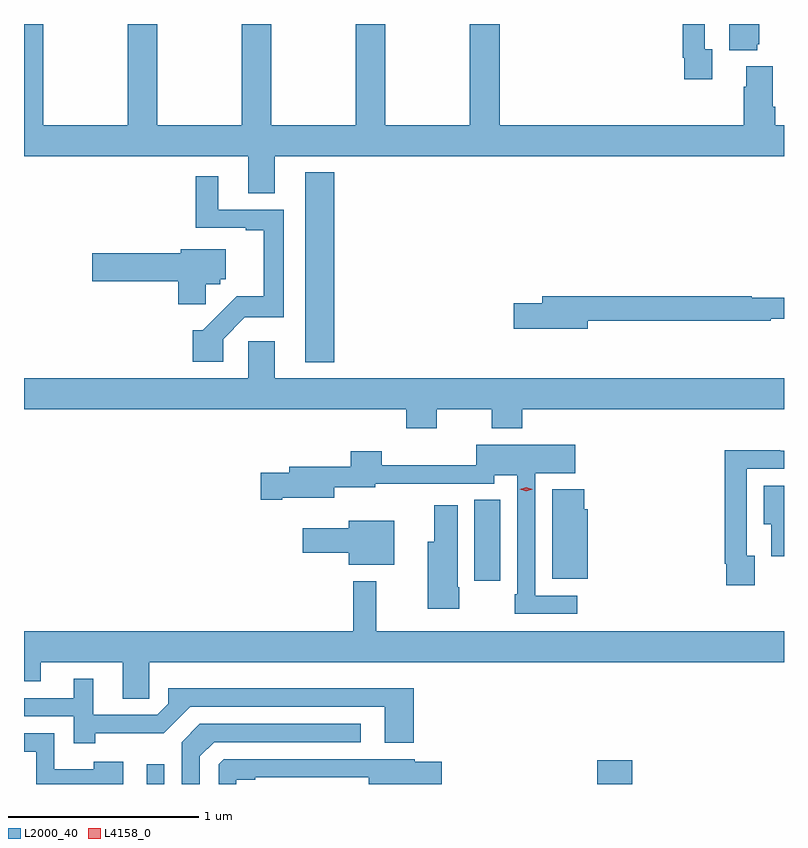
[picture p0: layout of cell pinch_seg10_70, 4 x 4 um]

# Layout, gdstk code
import gdstk
lib = gdstk.Library(unit=1e-6, precision=1e-09)
def R(c, l, rs):  # rectangles x0, y0, x1, y1
    for r in rs: c.add(gdstk.rectangle(r[:2], r[2:], *l))
def P(c, l, *ps):  # polygons
    for p in ps: c.add(gdstk.Polygon(p, *l))
L2000_40 = (2000, 40)
L4158_0 = (4158, 0)

pinch_seg10_70 = lib.new_cell('pinch_seg10_70')
R(pinch_seg10_70, L2000_40, [(820.967,1305.004,821.061,1305.109), (823.34,1305.004,823.523,1305.13), (822.692,1306.074,822.829,1306.499), (821.801,1307.225,821.954,1308.223)])
P(pinch_seg10_70, L2000_40, [(821.622,1309.004),(821.467,1309.004),(821.467,1308.472),(821.022,1308.472),(821.022,1309.004),(820.867,1309.004),(820.867,1308.472),(820.422,1308.472),(820.422,1309.004),(820.322,1309.004),(820.322,1308.308),(821.501,1308.308),(821.501,1308.114),(821.641,1308.114),(821.641,1308.308),(824.322,1308.308),(824.322,1308.472),(824.276,1308.472),(824.276,1308.568),(824.263,1308.568),(824.263,1308.781),(824.123,1308.781),(824.123,1308.674),(824.111,1308.674),(824.111,1308.472),(822.827,1308.472),(822.827,1309.004),(822.667,1309.004),(822.667,1308.472),(822.222,1308.472),(822.222,1309.004),(822.067,1309.004),(822.067,1308.472),(821.622,1308.472)],
  [(823.945,1308.87),(823.905,1308.87),(823.905,1309.004),(823.789,1309.004),(823.789,1308.826),(823.797,1308.826),(823.797,1308.714),(823.945,1308.714)],
  [(824.18,1308.897),(824.191,1308.897),(824.191,1309.004),(824.033,1309.004),(824.033,1308.866),(824.18,1308.866)],
  [(821.37,1307.346),(821.484,1307.46),(821.689,1307.46),(821.689,1308.027),(821.344,1308.027),(821.344,1308.202),(821.227,1308.202),(821.227,1307.931),(821.489,1307.931),(821.489,1307.919),(821.585,1307.919),(821.585,1307.57),(821.441,1307.57),(821.263,1307.392),(821.21,1307.392),(821.21,1307.226),(821.37,1307.226)],
  [(821.279,1307.634),(821.355,1307.634),(821.355,1307.661),(821.383,1307.661),(821.383,1307.818),(821.147,1307.818),(821.147,1307.798),(820.68,1307.798),(820.68,1307.651),(821.135,1307.651),(821.135,1307.529),(821.279,1307.529)],
  [(823.288,1307.442),(824.252,1307.442),(824.252,1307.454),(824.322,1307.454),(824.322,1307.563),(824.153,1307.563),(824.153,1307.57),(823.049,1307.57),(823.049,1307.534),(822.9,1307.534),(822.9,1307.399),(823.288,1307.399)],
  [(822.495,1306.976),(822.784,1306.976),(822.784,1306.877),(822.944,1306.877),(822.944,1306.976),(824.322,1306.976),(824.322,1307.14),(821.641,1307.14),(821.641,1307.335),(821.502,1307.335),(821.502,1307.14),(820.322,1307.14),(820.322,1306.976),(822.335,1306.976),(822.335,1306.877),(822.495,1306.877)],
  [(823.234,1305.996),(823.014,1305.996),(823.014,1306.64),(823.222,1306.64),(823.222,1306.789),(822.702,1306.789),(822.702,1306.682),(822.206,1306.682),(822.206,1306.756),(822.041,1306.756),(822.041,1306.675),(821.717,1306.675),(821.717,1306.641),(821.568,1306.641),(821.568,1306.499),(821.68,1306.499),(821.68,1306.511),(821.956,1306.511),(821.956,1306.565),(822.171,1306.565),(822.171,1306.583),(822.386,1306.583),(822.386,1306.584),(822.798,1306.584),(822.798,1306.628),(822.918,1306.628),(822.918,1306.003),(822.906,1306.003),(822.906,1305.9),(823.234,1305.9)],
  [(824.167,1306.206),(824.127,1306.206),(824.127,1306.662),(824.322,1306.662),(824.322,1306.758),(824.303,1306.758),(824.303,1306.76),(824.011,1306.76),(824.011,1306.162),(824.019,1306.162),(824.019,1306.05),(824.167,1306.05)],
  [(824.322,1306.573),(824.216,1306.573),(824.216,1306.37),(824.255,1306.37),(824.255,1306.202),(824.322,1306.202)],
  [(823.288,1306.449),(823.27,1306.449),(823.27,1306.555),(823.103,1306.555),(823.103,1306.085),(823.288,1306.085)],
  [(822.612,1306.039),(822.604,1306.039),(822.604,1306.471),(822.482,1306.471),(822.482,1306.279),(822.446,1306.279),(822.446,1305.927),(822.612,1305.927)],
  [(822.271,1306.39),(822.032,1306.39),(822.032,1306.351),(821.79,1306.351),(821.79,1306.222),(822.032,1306.222),(822.032,1306.157),(822.271,1306.157)],
  [(820.322,1305.545),(820.411,1305.545),(820.411,1305.644),(820.841,1305.644),(820.841,1305.454),(820.98,1305.454),(820.98,1305.644),(824.322,1305.644),(824.322,1305.808),(822.176,1305.808),(822.176,1306.072),(822.055,1306.072),(822.055,1305.808),(820.322,1305.808)],
  [(820.697,1305.272),(821.057,1305.272),(821.196,1305.411),(822.221,1305.411),(822.221,1305.221),(822.374,1305.221),(822.374,1305.508),(821.08,1305.508),(821.08,1305.427),(821.022,1305.369),(820.687,1305.369),(820.687,1305.559),(820.583,1305.559),(820.583,1305.456),(820.322,1305.456),(820.322,1305.36),(820.583,1305.36),(820.583,1305.219),(820.697,1305.219)],
  [(821.247,1305.149),(821.323,1305.225),(822.094,1305.225),(822.094,1305.321),(821.247,1305.321),(821.151,1305.225),(821.151,1305.004),(821.247,1305.004)],
  [(820.845,1305.121),(820.688,1305.121),(820.688,1305.082),(820.482,1305.082),(820.482,1305.27),(820.322,1305.27),(820.322,1305.174),(820.386,1305.174),(820.386,1305.004),(820.845,1305.004)],
  [(821.44,1305.027),(821.539,1305.027),(821.539,1305.039),(822.137,1305.039),(822.137,1305.004),(822.52,1305.004),(822.52,1305.121),(822.378,1305.121),(822.378,1305.135),(821.373,1305.135),(821.346,1305.108),(821.346,1305.004),(821.44,1305.004)])
P(pinch_seg10_70, L4158_0, [(822.965,1306.545),(822.93,1306.555),(822.93,1306.555),(822.93,1306.555),(822.965,1306.565),(823,1306.555),(823,1306.555),(823,1306.555)])

lib.write_gds('pinch_seg10_70.gds')
